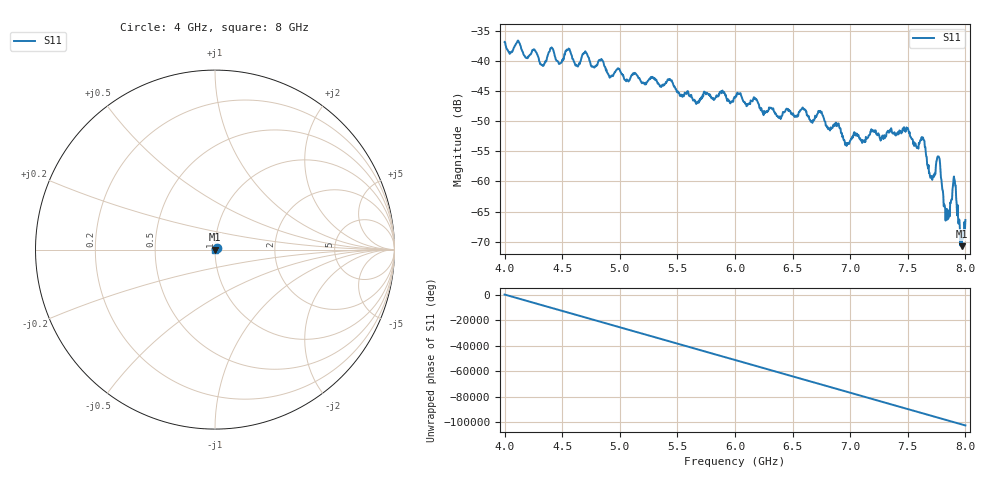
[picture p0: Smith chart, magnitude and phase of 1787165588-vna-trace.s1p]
! Created with skrf 1.10.0 (http://scikit-rf.org).
# Hz S RI R 50.0
!freq ReS11 ImS11
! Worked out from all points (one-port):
!   1001 points, 4 GHz to 8 GHz, reference 50 ohm
!   lowest |S11| = -70.7 dB at 7.968 GHz (marker M1), VSWR 1.00, Z = 50 + j0.0174 ohm
!   |S11| at or under -10 dB: start of sweep to end of sweep
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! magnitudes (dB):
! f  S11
! 4 GHz  -36.8
! 4.188 GHz  -39.5
! 4.26 GHz  -38.1
! 4.324 GHz  -40.7
! 4.404 GHz  -37.9
! 4.5 GHz  -39.8
! 4.552 GHz  -38.1
! 4.624 GHz  -40.6
! 4.696 GHz  -38.6
! 4.916 GHz  -42.6
! 5 GHz  -41.6
! 5.06 GHz  -43.1
! 5.436 GHz  -43.0
! 5.5 GHz  -45.2
! 5.672 GHz  -47.0
! 6 GHz  -46.1
! 6.5 GHz  -48.9
! 6.74 GHz  -48.3
! 7 GHz  -53.2
! 7.5 GHz  -51.1
! 7.572 GHz  -54.1
! 7.632 GHz  -52.7
! 7.704 GHz  -59.1
! 7.764 GHz  -55.9
! 7.844 GHz  -66.3
! 7.904 GHz  -59.6
! 7.968 GHz  -70.7
! 8 GHz  -66.4
